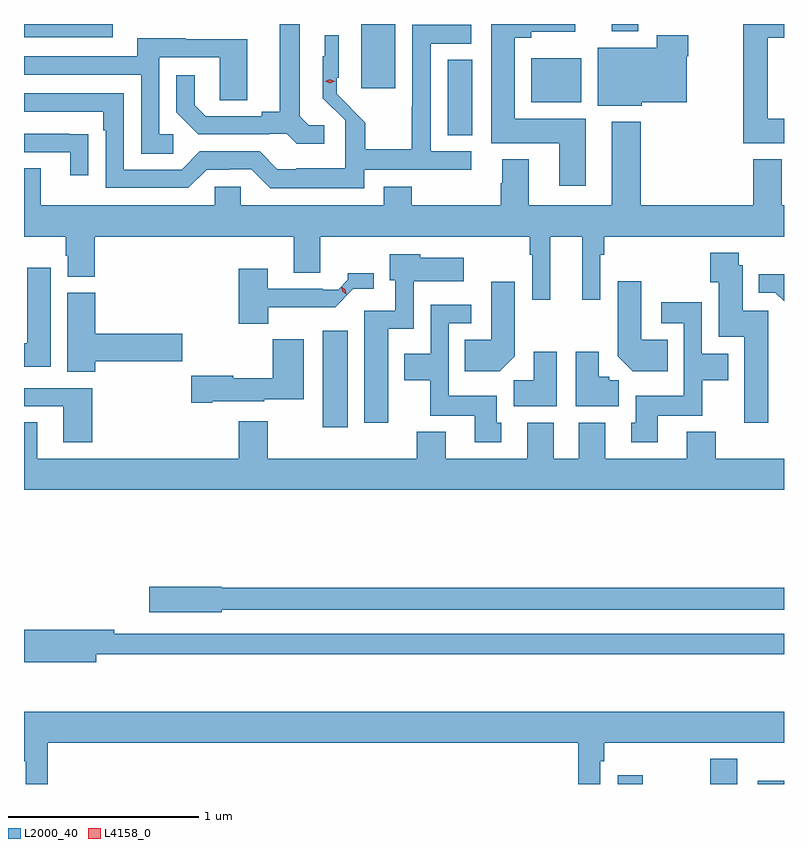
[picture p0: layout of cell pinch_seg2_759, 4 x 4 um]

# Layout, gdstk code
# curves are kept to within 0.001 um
import gdstk
lib = gdstk.Library(unit=1e-6, precision=1e-09)
def R(c, l, rs):  # rectangles x0, y0, x1, y1
    for r in rs: c.add(gdstk.rectangle(r[:2], r[2:], *l))
def P(c, l, *ps):  # polygons
    for p in ps: c.add(gdstk.Polygon(p, *l))
L2000_40 = (2000, 40)
L4158_0 = (4158, 0)

pinch_seg2_759 = lib.new_cell('pinch_seg2_759')
R(pinch_seg2_759, L2000_40, [(663.974,658.075,664.104,658.12), (664.459,658.075,664.602,658.207), (664.71,658.075,664.848,658.093), (662.42,659.952,662.551,660.46), (663.077,661.489,663.208,661.886), (663.518,661.664,663.781,661.894), (662.624,661.736,662.803,662.075), (660.848,662.004,661.315,662.075), (663.941,662.036,664.081,662.075)])
P(pinch_seg2_759, L2000_40, [(664.848,661.576),(664.762,661.576),(664.762,662.003),(664.848,662.003),(664.848,662.075),(664.633,662.075),(664.633,661.448),(664.848,661.448)],
  [(662.428,661.542),(662.346,661.542),(662.299,661.589),(662.299,662.075),(662.195,662.075),(662.195,661.613),(662.099,661.613),(662.099,661.59),(661.804,661.59),(661.747,661.647),(661.747,661.804),(661.65,661.804),(661.65,661.61),(661.766,661.494),(662.138,661.494),(662.138,661.497),(662.232,661.497),(662.284,661.445),(662.428,661.445)],
  [(663.805,661.576),(663.43,661.576),(663.43,662.003),(663.517,662.003),(663.517,662.033),(663.748,662.033),(663.748,662.075),(663.308,662.075),(663.308,661.448),(663.665,661.448),(663.665,661.224),(663.805,661.224)],
  [(662.64,661.308),(663.202,661.308),(663.202,661.404),(662.988,661.404),(662.988,661.971),(663.202,661.971),(663.202,662.07),(662.892,662.07),(662.892,661.64),(662.89,661.64),(662.89,661.417),(662.645,661.417),(662.645,661.556),(662.493,661.708),(662.493,661.791),(662.505,661.791),(662.505,662.017),(662.43,662.017),(662.43,661.904),(662.421,661.904),(662.421,661.685),(662.539,661.568),(662.539,661.315),(662.281,661.315),(662.281,661.311),(662.181,661.311),(662.088,661.404),(661.773,661.404),(661.677,661.308),(661.374,661.308),(661.374,661.71),(660.848,661.71),(660.848,661.614),(661.265,661.614),(661.265,661.517),(661.278,661.517),(661.278,661.212),(661.713,661.212),(661.809,661.308),(661.928,661.308),(661.928,661.311),(662.043,661.311),(662.143,661.211),(662.64,661.211)],
  [(664.098,661.664),(664.336,661.664),(664.336,661.904),(664.344,661.904),(664.344,662.017),(664.178,662.017),(664.178,661.951),(663.869,661.951),(663.869,661.646),(664.098,661.646)],
  [(661.633,661.494),(661.56,661.494),(661.56,661.899),(661.878,661.899),(661.878,661.675),(662.023,661.675),(662.023,661.995),(661.699,661.995),(661.699,661.999),(661.445,661.999),(661.445,661.905),(660.848,661.905),(660.848,661.809),(661.464,661.809),(661.464,661.393),(661.633,661.393)],
  [(663.619,660.956),(663.785,660.956),(663.785,660.624),(663.882,660.624),(663.882,660.86),(663.902,660.86),(663.902,660.956),(664.848,660.956),(664.848,661.12),(664.837,661.12),(664.837,661.363),(664.685,661.363),(664.685,661.12),(664.094,661.12),(664.094,661.561),(663.941,661.561),(663.941,661.12),(663.505,661.12),(663.505,661.363),(663.365,661.363),(663.365,661.236),(663.358,661.236),(663.358,661.12),(662.889,661.12),(662.889,661.219),(662.741,661.219),(662.741,661.12),(661.989,661.12),(661.989,661.218),(661.851,661.218),(661.851,661.12),(660.937,661.12),(660.937,661.315),(660.848,661.315),(660.848,660.956),(661.067,660.956),(661.067,660.855),(661.079,660.855),(661.079,660.745),(661.22,660.745),(661.22,660.956),(662.267,660.956),(662.267,660.766),(662.407,660.766),(662.407,660.956),(663.51,660.956),(663.51,660.86),(663.522,660.86),(663.522,660.624),(663.619,660.624)],
  [(661.187,661.496),(661.085,661.496),(661.085,661.497),(660.848,661.497),(660.848,661.401),(661.091,661.401),(661.091,661.278),(661.187,661.278)],
  [(664.765,660.567),(664.63,660.567),(664.63,660.804),(664.611,660.804),(664.611,660.871),(664.459,660.871),(664.459,660.715),(664.505,660.715),(664.505,660.428),(664.64,660.428),(664.64,659.976),(664.765,659.976)],
  [(662.764,660.47),(662.898,660.47),(662.898,660.722),(663.163,660.722),(663.163,660.844),(662.934,660.844),(662.934,660.862),(662.774,660.862),(662.774,660.726),(662.802,660.726),(662.802,660.567),(662.639,660.567),(662.639,659.976),(662.764,659.976)],
  [(660.988,660.793),(660.866,660.793),(660.866,660.394),(660.848,660.394),(660.848,660.272),(660.988,660.272)],
  [(662.134,660.584),(662.486,660.585),(662.582,660.681),(662.689,660.681),(662.689,660.764),(662.553,660.764),(662.553,660.728),(662.502,660.677),(662.421,660.677),(662.421,660.681),(662.131,660.681),(662.131,660.787),(661.979,660.787),(661.979,660.497),(662.134,660.497)],
  [(664.848,660.757),(664.715,660.757),(664.715,660.66),(664.803,660.66),(664.848,660.616)],
  [(664.235,660.412),(664.096,660.412),(664.096,660.721),(663.974,660.721),(663.974,660.326),(664.052,660.248),(664.235,660.248)],
  [(663.43,660.326),(663.43,660.718),(663.308,660.718),(663.308,660.412),(663.169,660.412),(663.169,660.248),(663.352,660.248)],
  [(661.223,660.299),(661.681,660.299),(661.681,660.446),(661.223,660.446),(661.223,660.66),(661.076,660.66),(661.076,660.244),(661.223,660.244)],
  [(664.183,660.014),(664.419,660.014),(664.419,660.2),(664.555,660.2),(664.555,660.34),(664.416,660.34),(664.416,660.61),(664.203,660.61),(664.203,660.501),(664.32,660.501),(664.32,660.118),(664.067,660.118),(664.067,659.976),(664.043,659.976),(664.043,659.874),(664.183,659.874)],
  [(663.361,659.976),(663.337,659.976),(663.337,660.118),(663.084,660.118),(663.084,660.501),(663.202,660.501),(663.202,660.597),(662.988,660.597),(662.988,660.34),(662.849,660.34),(662.849,660.2),(662.986,660.2),(662.986,660.014),(663.221,660.014),(663.221,659.874),(663.361,659.874)],
  [(661.84,660.089),(662.112,660.089),(662.112,660.101),(662.32,660.101),(662.32,660.415),(662.158,660.415),(662.158,660.211),(661.95,660.211),(661.95,660.224),(661.728,660.224),(661.728,660.082),(661.84,660.082)],
  [(663.652,660.349),(663.53,660.349),(663.53,660.2),(663.425,660.2),(663.425,660.062),(663.652,660.062)],
  [(663.979,660.2),(663.927,660.2),(663.927,660.218),(663.874,660.218),(663.874,660.349),(663.752,660.349),(663.752,660.062),(663.979,660.062)],
  [(661.208,660.159),(660.848,660.159),(660.848,660.063),(661.055,660.063),(661.055,659.874),(661.208,659.874)],
  [(664.848,659.788),(664.49,659.788),(664.49,659.929),(664.337,659.929),(664.337,659.788),(663.907,659.788),(663.907,659.977),(663.767,659.977),(663.767,659.788),(663.637,659.788),(663.637,659.977),(663.497,659.977),(663.497,659.788),(663.067,659.788),(663.067,659.929),(662.915,659.929),(662.915,659.788),(662.131,659.788),(662.131,659.983),(661.979,659.983),(661.979,659.788),(660.919,659.788),(660.919,659.978),(660.848,659.978),(660.848,659.624),(664.848,659.624)],
  [(661.89,658.992),(664.848,658.992),(664.848,659.108),(661.89,659.108),(661.89,659.114),(661.506,659.114),(661.506,658.979),(661.89,658.979)],
  [(661.228,658.758),(664.848,658.758),(664.848,658.866),(661.324,658.866),(661.324,658.886),(660.848,658.886),(660.848,658.715),(661.228,658.715)],
  [(660.974,658.292),(663.766,658.292),(663.766,658.075),(663.882,658.075),(663.882,658.196),(663.902,658.196),(663.902,658.292),(664.848,658.292),(664.848,658.456),(660.848,658.456),(660.848,658.196),(660.858,658.196),(660.858,658.075),(660.974,658.075)])
P(pinch_seg2_759, L4158_0, [(662.545,660.653),(662.523,660.668),(662.518,660.693),(662.518,660.693),(662.518,660.693),(662.54,660.679),(662.545,660.654),(662.545,660.653)],
  [(662.457,661.763),(662.43,661.774),(662.43,661.774),(662.43,661.774),(662.458,661.783),(662.485,661.773),(662.486,661.773),(662.485,661.773)])

lib.write_gds('pinch_seg2_759.gds')
